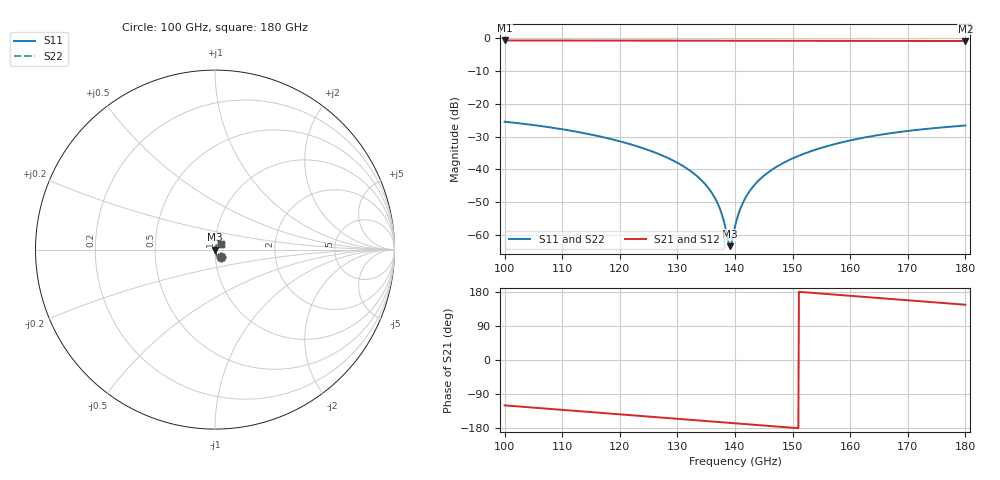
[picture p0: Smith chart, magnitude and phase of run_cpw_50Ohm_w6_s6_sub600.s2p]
#  Hz  S  RI  R  50
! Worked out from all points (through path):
!   801 points, 100 GHz to 180 GHz, reference 50 ohm
!   highest |S21| = -0.60 dB at 100 GHz (marker M1); lowest = -0.8 dB at 180 GHz (marker M2)
!   group delay of S21, straight-line fit = 3.28 ps
!   lowest |S11| = -63.5 dB at 139.1 GHz (marker M3), VSWR 1.00, Z = 49.9 - j0.00266 ohm
!   |S11| at or under -10 dB: start of sweep to end of sweep
!   |S22| runs from -63.5 to -25.4 dB; largest |S21 - S12| = 0
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1e11  0.0323 -0.0426  -0.4631 -0.8096  -0.4631 -0.8096  0.0323 -0.0426
1.134e11  0.0131 -0.0339  -0.6637 -0.6505  -0.6637 -0.6505  0.0131 -0.0339
1.208e11  0.00557 -0.0251  -0.7535 -0.5416  -0.7535 -0.5416  0.00557 -0.0251
1.267e11  0.00176 -0.0172  -0.8128 -0.4457  -0.8128 -0.4457  0.00176 -0.0172
1.317e11  -7.24e-05 -0.0102  -0.8536 -0.3591  -0.8536 -0.3591  -7.24e-05 -0.0102
1.352e11  -0.000656 -0.00539  -0.8766 -0.2962  -0.8766 -0.2962  -0.000656 -0.00539
1.364e11  -0.000731 -0.00374  -0.8834 -0.2743  -0.8834 -0.2743  -0.000731 -0.00374
1.373e11  -0.000746 -0.0025  -0.8881 -0.2577  -0.8881 -0.2577  -0.000746 -0.0025
1.38e11  -0.000734 -0.00153  -0.8916 -0.2448  -0.8916 -0.2448  -0.000734 -0.00153
1.388e11  -0.000693 -0.000437  -0.8953 -0.23  -0.8953 -0.23  -0.000693 -0.000437
1.391e11  -0.00067 -2.66e-05  -0.8966 -0.2244  -0.8966 -0.2244  -0.00067 -2.66e-05
1.395e11  -0.000634 0.00052  -0.8984 -0.217  -0.8984 -0.217  -0.000634 0.00052
1.4e11  -0.000579 0.0012  -0.9004 -0.2077  -0.9004 -0.2077  -0.000579 0.0012
1.407e11  -0.000483 0.00216  -0.9031 -0.1946  -0.9031 -0.1946  -0.000483 0.00216
1.416e11  -0.000328 0.00338  -0.9064 -0.1777  -0.9064 -0.1777  -0.000328 0.00338
1.427e11  -8.83e-05 0.00486  -0.9098 -0.1571  -0.9098 -0.1571  -8.83e-05 0.00486
1.441e11  0.000297 0.00674  -0.9136 -0.1307  -0.9136 -0.1307  0.000297 0.00674
1.48e11  0.00186 0.0119  -0.92 -0.057  -0.92 -0.057  0.00186 0.0119
1.534e11  0.00528 0.0185  -0.9193 0.0452  -0.9193 0.0452  0.00528 0.0185
1.595e11  0.0109 0.0248  -0.9052 0.1594  -0.9052 0.1594  0.0109 0.0248
1.667e11  0.0191 0.0298  -0.8707 0.2908  -0.8707 0.2908  0.0191 0.0298
1.8e11  0.0346 0.0315  -0.7573 0.5142  -0.7573 0.5142  0.0346 0.0315
